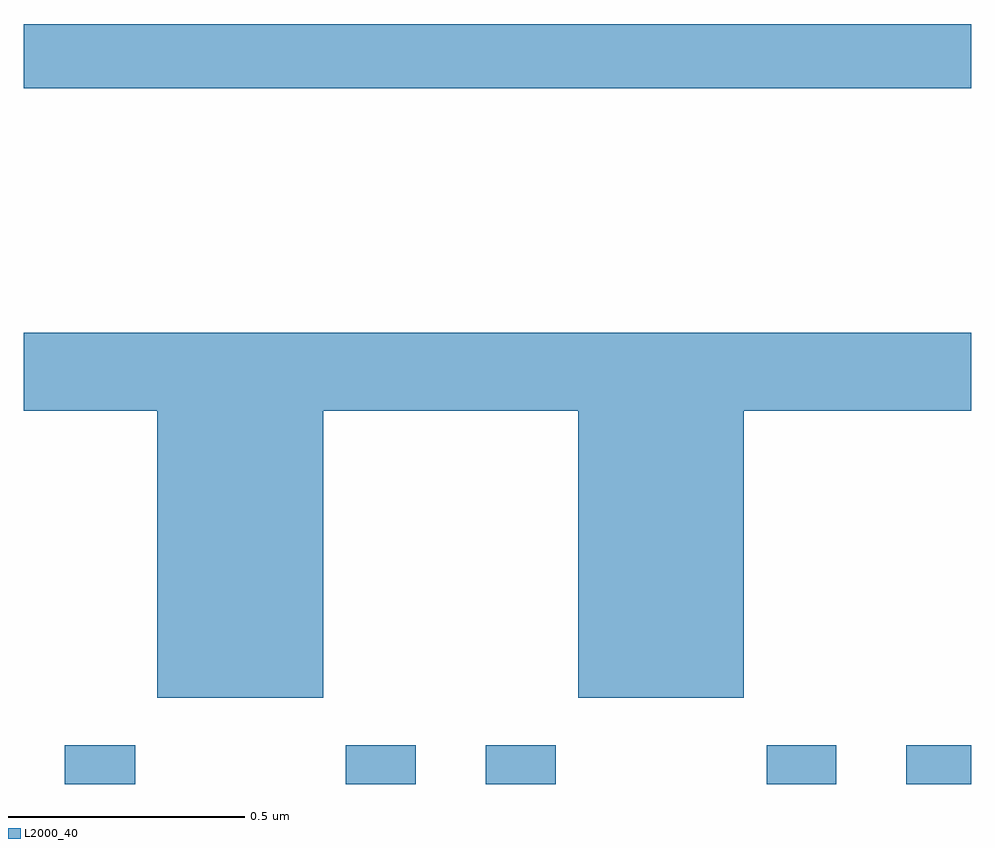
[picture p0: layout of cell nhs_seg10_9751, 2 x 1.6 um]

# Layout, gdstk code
import gdstk
lib = gdstk.Library(unit=1e-6, precision=1e-09)
def R(c, l, rs):  # rectangles x0, y0, x1, y1
    for r in rs: c.add(gdstk.rectangle(r[:2], r[2:], *l))
def P(c, l, *ps):  # polygons
    for p in ps: c.add(gdstk.Polygon(p, *l))
L2000_40 = (2000, 40)

nhs_seg10_9751 = lib.new_cell('nhs_seg10_9751')
R(nhs_seg10_9751, L2000_40, [(233.087,1327.5,233.235,1327.582), (233.68,1327.5,233.827,1327.582), (233.975,1327.5,234.123,1327.582), (234.568,1327.5,234.715,1327.582), (234.863,1327.5,235,1327.582), (233,1328.968,235,1329.104)])
P(nhs_seg10_9751, L2000_40, [(233.632,1328.288),(234.17,1328.288),(234.17,1327.682),(234.52,1327.682),(234.52,1328.288),(235,1328.288),(235,1328.452),(233,1328.452),(233,1328.288),(233.282,1328.288),(233.282,1327.682),(233.632,1327.682)])

lib.write_gds('nhs_seg10_9751.gds')
